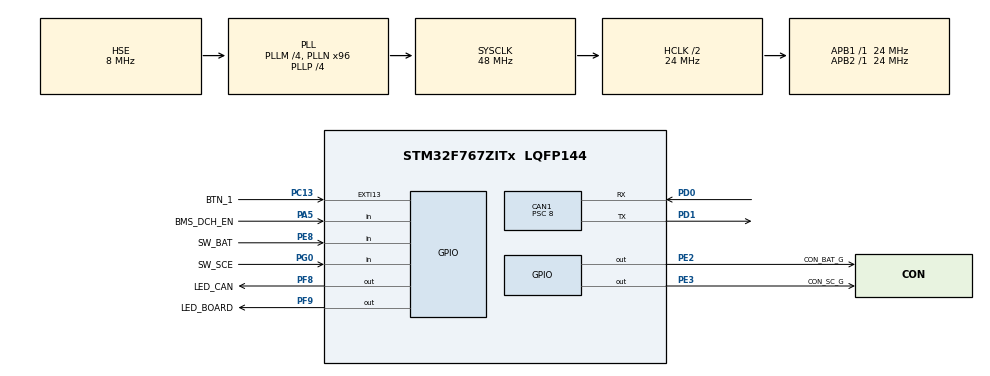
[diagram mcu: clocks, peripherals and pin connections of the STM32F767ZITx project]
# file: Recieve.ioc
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CAN1.BS1=CAN_BS1_2TQ
CAN1.BS2=CAN_BS2_3TQ
CAN1.CalculateBaudRate=500000
CAN1.CalculateTimeBit=2000
CAN1.CalculateTimeQuantum=333.3333333333333
CAN1.Prescaler=8
CAN1.SJW=CAN_SJW_2TQ
CORTEX_M7.default_mode_Activation=1
Mcu.Family=STM32F7
Mcu.Name=STM32F767ZITx
Mcu.Package=LQFP144
NVIC.CAN1_RX0_IRQn=true\:0\:0\:false\:false\:true\:true\:true\:true
NVIC.EXTI15_10_IRQn=true\:0\:0\:false\:false\:true\:true\:true\:true
NVIC.PriorityGroup=NVIC_PRIORITYGROUP_4
NVIC.TIM2_IRQn=true\:0\:0\:false\:false\:true\:true\:true\:true
NVIC.TIM3_IRQn=true\:0\:0\:false\:false\:true\:true\:true\:true
PA5.GPIO_Label=BMS_DCH_EN
PA5.Signal=GPIO_Input
PC13.GPIO_Label=BTN_1
PC13.GPIO_ModeDefaultEXTI=GPIO_MODE_IT_FALLING
PC13.GPIO_PuPd=GPIO_PULLUP
PC13.Signal=GPXTI13
PD0.GPIO_PuPd=GPIO_PULLUP
PD0.Mode=CAN_Activate
PD0.Signal=CAN1_RX
PD1.Mode=CAN_Activate
PD1.Signal=CAN1_TX
PE2.GPIO_Label=CON_BAT_G
PE2.Signal=GPIO_Output
PE3.GPIO_Label=CON_SC_G
PE3.Signal=GPIO_Output
PE8.GPIO_Label=SW_BAT
PE8.Signal=GPIO_Input
PF8.GPIO_Label=LED_CAN
PF8.Signal=GPIO_Output
PF9.GPIO_Label=LED_BOARD
PF9.Signal=GPIO_Output
PG0.GPIO_Label=SW_SCE
PG0.Signal=GPIO_Input
PH0/OSC_IN.Mode=HSE-External-Oscillator
PH0/OSC_IN.Signal=RCC_OSC_IN
PH1/OSC_OUT.Mode=HSE-External-Oscillator
PH1/OSC_OUT.Signal=RCC_OSC_OUT
ProjectManager.HeapSize=0x200
ProjectManager.StackSize=0x400
ProjectManager.TargetToolchain=STM32CubeIDE
RCC.AHBCLKDivider=RCC_SYSCLK_DIV2
RCC.AHBFreq_Value=24000000
RCC.APB1Freq_Value=24000000
RCC.APB1TimFreq_Value=24000000
RCC.APB2Freq_Value=24000000
RCC.APB2TimFreq_Value=24000000
RCC.CortexFreq_Value=24000000
RCC.HCLKFreq_Value=24000000
RCC.HSE_VALUE=8000000
RCC.HSI_VALUE=16000000
RCC.LSE_VALUE=32768
RCC.PLLM=4
RCC.PLLN=96
RCC.PLLP=RCC_PLLP_DIV4
RCC.PLLSourceVirtual=RCC_PLLSOURCE_HSE
RCC.SYSCLKFreq_VALUE=48000000
RCC.SYSCLKSource=RCC_SYSCLKSOURCE_PLLCLK
RCC.USBFreq_Value=96000000
RCC.VCOOutputFreq_Value=192000000
TIM2.Period=1000000
TIM2.Prescaler=24
TIM3.Period=100
TIM3.Prescaler=24000
VP_TIM2_VS_ClockSourceINT.Mode=Internal
VP_TIM3_VS_ClockSourceINT.Mode=Internal
board=custom

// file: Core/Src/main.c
/* USER CODE BEGIN Header */
/**
  ******************************************************************************
  * @file           : main.c
  * @brief          : Main program body
  ******************************************************************************
  * @attention
  *
  * Copyright (c) 2024 STMicroelectronics.
  * All rights reserved.
  *
  * This software is licensed under terms that can be found in the LICENSE file
  * in the root directory of this software component.
  * If no LICENSE file comes with this software, it is provided AS-IS.
  *
  ******************************************************************************
  */
/**
  ******************************************************************************
  * @attention
  * Message from the software team:
  * - For main.c file, DO NOT add code outside of the USER CODE BEGIN - USER CODE END block
  * as it will be overwritten or deleted during code generation.
  ******************************************************************************
  *
*/
/* USER CODE END Header */
#include "main.h"

/* USER CODE BEGIN Includes */
#include "can_params.h"
#include "can.h"
/* USER CODE END Includes */

/* USER CODE BEGIN PD */

#define BOARD_CAN_ID (uint8_t)0x103
#define BOARD_TYPE_ID 0
#define BOARD_TTL 10

/* USER CODE END PD */

CAN_HandleTypeDef hcan1;

TIM_HandleTypeDef htim2;
TIM_HandleTypeDef htim3;

/* USER CODE BEGIN PV */

uint32_t TxMailbox;

can_params_t global_vehicle_parameters;
can_config_t vehicle_can_config;

/* USER CODE END PV */

void SystemClock_Config(void);
static void MPU_Config(void);
static void MX_GPIO_Init(void);
static void MX_CAN1_Init(void);
static void MX_TIM2_Init(void);
static void MX_TIM3_Init(void);

/* USER CODE BEGIN 0 */

void gv_commands_callback(uint16_t id, uint32_t value) {

	if (id == global_vehicle_parameters.led.PARAM_ID) {
		HAL_GPIO_WritePin(LED_CAN_GPIO_Port, LED_CAN_Pin, value);
//		HAL_GPIO_TogglePin(LED_CAN_GPIO_Port, LED_CAN_Pin);
		return;
	}

}

void gv_params_callback(uint16_t id, uint32_t value) {
	if (id == global_vehicle_parameters.led.PARAM_ID) {
		HAL_GPIO_WritePin(LED_CAN_GPIO_Port, LED_CAN_Pin, value);
	}
}

/* USER CODE END 0 */

int main(void)
{

  /* MPU Configuration--------------------------------------------------------*/
  MPU_Config();

  /* MCU Configuration--------------------------------------------------------*/

  /* Reset of all peripherals, Initializes the Flash interface and the Systick. */
  HAL_Init();

  /* Configure the system clock */
  SystemClock_Config();

  /* Initialize all configured peripherals */
  MX_GPIO_Init();
  MX_CAN1_Init();
  MX_TIM2_Init();
  MX_TIM3_Init();
  /* USER CODE BEGIN 2 */

  // Start the CAN peripheral
  HAL_CAN_Start(&hcan1);

  // Turn on interupt for hcan to receive messages on the buffer
  HAL_CAN_ActivateNotification(&hcan1, CAN_IT_RX_FIFO0_MSG_PENDING);

  vehicle_can_config.errors.present = 0;
  vehicle_can_config.gv_params = &global_vehicle_parameters;
  vehicle_can_config.can_id = BOARD_CAN_ID;
  vehicle_can_config.board_type_id = BOARD_TYPE_ID;
  vehicle_can_config.ttl = BOARD_TTL;
  sw3_can_init(&hcan1, &vehicle_can_config);
  sw3_gv_params_init(&global_vehicle_parameters);
  sw3_can_set_gv_commands_callback(gv_commands_callback);
  sw3_can_set_gv_params_callback(gv_params_callback);

  /* USER CODE END 2 */

  /* Infinite loop */
  /* USER CODE BEGIN WHILE */
  while (1)
  {
    // Content of the while loop here
    /* USER CODE END WHILE */
    int BMS_DCH_EN_check = HAL_GPIO_ReadPin(BMS_DCH_EN_GPIO_Port, BMS_DCH_EN_Pin);
    int SW_SCE_check = HAL_GPIO_ReadPin(SW_SCE_GPIO_Port, SW_SCE_PIN);
    int SW_BAT_check = HAL_GPIO_ReadPin(SW_BAT_GPIO_Port, SW_BAT_PIN);

    //turn on CON_BAT_G
    if(BMS_DCH_EN_check == 1) {
      if(SW_BAT_check == 1) {
        HAL_GPIO_WritePin(CON_BAT_G_GPIO_Port, CON_BAT_G_Pin, GPIO_PIN_SET);
      }
      else {
        HAL_GPIO_WritePin(CON_BAT_G_GPIO_Port, CON_BAT_G_Pin, GPIO_PIN_RESET);
      }

      if (SW_SCE_check == 1 && SW_BAT_check == 1) {
        HAL_GPIO_WritePin(CON_SC_G_GPIO_Port, CON_SC_G_Pin, GPIO_PIN_SET);
      } else {
        HAL_GPIO_WritePin(CON_SC_G_GPIO_Port, CON_SC_G_Pin, GPIO_PIN_RESET);
      }

    } else {
      HAL_GPIO_WritePin(CON_BAT_G_GPIO_Port, CON_BAT_G_Pin, GPIO_PIN_RESET);
      HAL_GPIO_WritePin(CON_SC_G_GPIO_Port, CON_SC_G_Pin, GPIO_PIN_RESET);
    }

    /* USER CODE BEGIN 3 */
    sw3_can_loop();
  }
  /* USER CODE END 3 */
}

void SystemClock_Config(void)
{
  RCC_OscInitTypeDef RCC_OscInitStruct = {0};
  RCC_ClkInitTypeDef RCC_ClkInitStruct = {0};

  /** Configure the main internal regulator output voltage
  */
  __HAL_RCC_PWR_CLK_ENABLE();
  __HAL_PWR_VOLTAGESCALING_CONFIG(PWR_REGULATOR_VOLTAGE_SCALE3);

  /** Initializes the RCC Oscillators according to the specified parameters
  * in the RCC_OscInitTypeDef structure.
  */
  RCC_OscInitStruct.OscillatorType = RCC_OSCILLATORTYPE_HSE;
  RCC_OscInitStruct.HSEState = RCC_HSE_ON;
  RCC_OscInitStruct.PLL.PLLState = RCC_PLL_ON;
  RCC_OscInitStruct.PLL.PLLSource = RCC_PLLSOURCE_HSE;
  RCC_OscInitStruct.PLL.PLLM = 4;
  RCC_OscInitStruct.PLL.PLLN = 96;
  RCC_OscInitStruct.PLL.PLLP = RCC_PLLP_DIV4;
  RCC_OscInitStruct.PLL.PLLQ = 2;
  RCC_OscInitStruct.PLL.PLLR = 2;
  if (HAL_RCC_OscConfig(&RCC_OscInitStruct) != HAL_OK)
  {
    Error_Handler();
  }

  /** Initializes the CPU, AHB and APB buses clocks
  */
  RCC_ClkInitStruct.ClockType = RCC_CLOCKTYPE_HCLK|RCC_CLOCKTYPE_SYSCLK
                              |RCC_CLOCKTYPE_PCLK1|RCC_CLOCKTYPE_PCLK2;
  RCC_ClkInitStruct.SYSCLKSource = RCC_SYSCLKSOURCE_PLLCLK;
  RCC_ClkInitStruct.AHBCLKDivider = RCC_SYSCLK_DIV2;
  RCC_ClkInitStruct.APB1CLKDivider = RCC_HCLK_DIV1;
  RCC_ClkInitStruct.APB2CLKDivider = RCC_HCLK_DIV1;

  if (HAL_RCC_ClockConfig(&RCC_ClkInitStruct, FLASH_LATENCY_0) != HAL_OK)
  {
    Error_Handler();
  }
}

static void MX_CAN1_Init(void)
{

  hcan1.Instance = CAN1;
  hcan1.Init.Prescaler = 8;
  hcan1.Init.Mode = CAN_MODE_NORMAL;
  hcan1.Init.SyncJumpWidth = CAN_SJW_2TQ;
  hcan1.Init.TimeSeg1 = CAN_BS1_2TQ;
  hcan1.Init.TimeSeg2 = CAN_BS2_3TQ;
  hcan1.Init.TimeTriggeredMode = DISABLE;
  hcan1.Init.AutoBusOff = DISABLE;
  hcan1.Init.AutoWakeUp = DISABLE;
  hcan1.Init.AutoRetransmission = DISABLE;
  hcan1.Init.ReceiveFifoLocked = DISABLE;
  hcan1.Init.TransmitFifoPriority = DISABLE;
  if (HAL_CAN_Init(&hcan1) != HAL_OK)
  {
    Error_Handler();
  }
  /* USER CODE BEGIN CAN1_Init 2 */
  CAN_FilterTypeDef canfilterconfig;

  canfilterconfig.FilterActivation = CAN_FILTER_ENABLE;
  canfilterconfig.FilterBank = 18;  // which filter bank to use from the assigned ones
  canfilterconfig.FilterFIFOAssignment = CAN_FILTER_FIFO0;
  canfilterconfig.FilterIdHigh = 0x000<<5; // 0x001
  canfilterconfig.FilterIdLow = 0;
  canfilterconfig.FilterMaskIdHigh = 0x000<<5; // 0x001
  canfilterconfig.FilterMaskIdLow = 0x0000;
  canfilterconfig.FilterMode = CAN_FILTERMODE_IDMASK;
  canfilterconfig.FilterScale = CAN_FILTERSCALE_32BIT;
  canfilterconfig.SlaveStartFilterBank = 20;  // how many filters to assign to the CAN1 (master can)

  HAL_CAN_ConfigFilter(&hcan1, &canfilterconfig);
  /* USER CODE END CAN1_Init 2 */

}

static void MX_TIM2_Init(void)
{

  TIM_ClockConfigTypeDef sClockSourceConfig = {0};
  TIM_MasterConfigTypeDef sMasterConfig = {0};

  htim2.Instance = TIM2;
  htim2.Init.Prescaler = 24;
  htim2.Init.CounterMode = TIM_COUNTERMODE_UP;
  htim2.Init.Period = 1000000;
  htim2.Init.ClockDivision = TIM_CLOCKDIVISION_DIV1;
  htim2.Init.AutoReloadPreload = TIM_AUTORELOAD_PRELOAD_DISABLE;
  if (HAL_TIM_Base_Init(&htim2) != HAL_OK)
  {
    Error_Handler();
  }
  sClockSourceConfig.ClockSource = TIM_CLOCKSOURCE_INTERNAL;
  if (HAL_TIM_ConfigClockSource(&htim2, &sClockSourceConfig) != HAL_OK)
  {
    Error_Handler();
  }
  sMasterConfig.MasterOutputTrigger = TIM_TRGO_RESET;
  sMasterConfig.MasterSlaveMode = TIM_MASTERSLAVEMODE_DISABLE;
  if (HAL_TIMEx_MasterConfigSynchronization(&htim2, &sMasterConfig) != HAL_OK)
  {
    Error_Handler();
  }

}

static void MX_TIM3_Init(void)
{

  TIM_ClockConfigTypeDef sClockSourceConfig = {0};
  TIM_MasterConfigTypeDef sMasterConfig = {0};

  htim3.Instance = TIM3;
  htim3.Init.Prescaler = 24000;
  htim3.Init.CounterMode = TIM_COUNTERMODE_UP;
  htim3.Init.Period = 100;
  htim3.Init.ClockDivision = TIM_CLOCKDIVISION_DIV1;
  htim3.Init.AutoReloadPreload = TIM_AUTORELOAD_PRELOAD_DISABLE;
  if (HAL_TIM_Base_Init(&htim3) != HAL_OK)
  {
    Error_Handler();
  }
  sClockSourceConfig.ClockSource = TIM_CLOCKSOURCE_INTERNAL;
  if (HAL_TIM_ConfigClockSource(&htim3, &sClockSourceConfig) != HAL_OK)
  {
    Error_Handler();
  }
  sMasterConfig.MasterOutputTrigger = TIM_TRGO_RESET;
  sMasterConfig.MasterSlaveMode = TIM_MASTERSLAVEMODE_DISABLE;
  if (HAL_TIMEx_MasterConfigSynchronization(&htim3, &sMasterConfig) != HAL_OK)
  {
    Error_Handler();
  }

}

static void MX_GPIO_Init(void)
{
  GPIO_InitTypeDef GPIO_InitStruct = {0};

  /* GPIO Ports Clock Enable */
  __HAL_RCC_GPIOC_CLK_ENABLE();
  __HAL_RCC_GPIOF_CLK_ENABLE();
  __HAL_RCC_GPIOH_CLK_ENABLE();
  __HAL_RCC_GPIOD_CLK_ENABLE();

  /*Configure GPIO pin Output Level */
  HAL_GPIO_WritePin(GPIOF, LED_CAN_Pin|LED_BOARD_Pin, GPIO_PIN_RESET);

  /*Configure GPIO pin : BTN_1_Pin */
  GPIO_InitStruct.Pin = BTN_1_Pin;
  GPIO_InitStruct.Mode = GPIO_MODE_IT_FALLING;
  GPIO_InitStruct.Pull = GPIO_PULLUP;
  HAL_GPIO_Init(BTN_1_GPIO_Port, &GPIO_InitStruct);

  /*Configure GPIO pins : LED_CAN_Pin LED_BOARD_Pin */
  GPIO_InitStruct.Pin = LED_CAN_Pin|LED_BOARD_Pin;
  GPIO_InitStruct.Mode = GPIO_MODE_OUTPUT_PP;
  GPIO_InitStruct.Pull = GPIO_NOPULL;
  GPIO_InitStruct.Speed = GPIO_SPEED_FREQ_LOW;
  HAL_GPIO_Init(GPIOF, &GPIO_InitStruct);

  /* EXTI interrupt init*/
  HAL_NVIC_SetPriority(EXTI15_10_IRQn, 0, 0);
  HAL_NVIC_EnableIRQ(EXTI15_10_IRQn);

}

 /* MPU Configuration */

void MPU_Config(void)
{
  MPU_Region_InitTypeDef MPU_InitStruct = {0};

  /* Disables the MPU */
  HAL_MPU_Disable();

  /** Initializes and configures the Region and the memory to be protected
  */
  MPU_InitStruct.Enable = MPU_REGION_ENABLE;
  MPU_InitStruct.Number = MPU_REGION_NUMBER0;
  MPU_InitStruct.BaseAddress = 0x0;
  MPU_InitStruct.Size = MPU_REGION_SIZE_4GB;
  MPU_InitStruct.SubRegionDisable = 0x87;
  MPU_InitStruct.TypeExtField = MPU_TEX_LEVEL0;
  MPU_InitStruct.AccessPermission = MPU_REGION_NO_ACCESS;
  MPU_InitStruct.DisableExec = MPU_INSTRUCTION_ACCESS_DISABLE;
  MPU_InitStruct.IsShareable = MPU_ACCESS_SHAREABLE;
  MPU_InitStruct.IsCacheable = MPU_ACCESS_NOT_CACHEABLE;
  MPU_InitStruct.IsBufferable = MPU_ACCESS_NOT_BUFFERABLE;

  HAL_MPU_ConfigRegion(&MPU_InitStruct);
  /* Enables the MPU */
  HAL_MPU_Enable(MPU_PRIVILEGED_DEFAULT);

}

void Error_Handler(void)
{
  __disable_irq();
  while (1)
  {
  }
}
